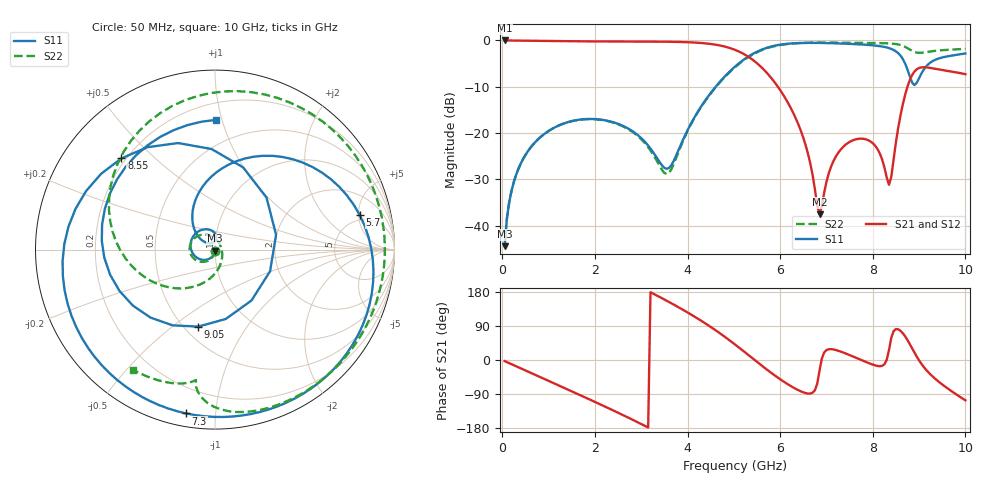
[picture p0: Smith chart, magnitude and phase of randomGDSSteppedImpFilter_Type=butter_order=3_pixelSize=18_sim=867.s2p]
! freq	dB(S11)	phase(S11)	dB(S12)	phase(S12)
!  dB(S21)	phase(S21)	dB(S22)	phase(S22)
!S-par simulation data
#  GHz  S  DB  R 50
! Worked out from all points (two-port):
!   200 points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, 50 MHz to 10 GHz, reference 50 ohm
!   highest |S21| = -0.01 dB at 50 MHz (marker M1); lowest = -37.5 dB at 6.85 GHz (marker M2)
!   |S21| within 3 dB of the highest: start of sweep to 5.228 GHz
!   lowest |S11| = -44.4 dB at 50 MHz (marker M3), VSWR 1.01, Z = 50 - j0.602 ohm
!   |S11| at or under -10 dB: start of sweep to 4.608 GHz
!   |S22| runs from -44.4 to -0.5 dB; largest |S21 - S12| = 0
!   S11 on the Smith chart (normalised r, x): 50 MHz: 1.00, -0.01; 5.7 GHz: 4.17, +5.15; 7.3 GHz: 0.06, -0.84; 8.55 GHz: 0.18, +0.40; 9.05 GHz: 0.59, -0.62; 10 GHz: 0.32, +0.96
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0.05  -44.41 -90.3  -0.01 -2.8  -0.01 -2.8  -44.41 -89.7
0.2  -32.43 -101.8  -0.02 -11.1  -0.02 -11.1  -32.42 -99.4
0.5  -24.73 -120.9  -0.05 -27.6  -0.05 -27.6  -24.71 -115.0
1.75  -17.02 161.8  -0.20 -96.6  -0.20 -96.6  -17.04 -176.9
2.7  -18.92 104.2  -0.24 -150.9  -0.24 -150.9  -19.05 132.5
3.4  -26.30 90.2  -0.27 166.1  -0.27 166.1  -27.14 60.9
3.6  -27.53 118.9  -0.29 153.1  -0.29 153.1  -28.57 0.8
4.35  -13.42 126.3  -0.60 99.3  -0.60 99.3  -13.52 -113.1
5.05  -5.44 71.8  -2.13 38.6  -2.13 38.6  -5.57 -179.5
5.7  -1.63 13.5  -6.86 -24.1  -6.86 -24.1  -1.73 112.0
6.15  -0.73 -23.3  -13.13 -62.8  -13.13 -62.8  -0.78 67.7
6.7  -0.53 -61.9  -29.02 -86.4  -29.02 -86.4  -0.49 22.1
6.85  -0.54 -71.5  -37.52 -28.5  -37.52 -28.5  -0.48 11.3
7.3  -0.66 -100.0  -23.65 22.5  -23.65 22.5  -0.49 -18.0
7.95  -1.01 -146.3  -21.80 -9.9  -21.80 -9.9  -0.55 -53.8
8.35  -1.65 171.2  -31.16 26.0  -31.16 26.0  -0.65 -74.2
8.55  -2.76 135.7  -18.82 81.0  -18.82 81.0  -0.87 -85.0
8.7  -5.02 92.0  -11.69 62.3  -11.69 62.3  -1.39 -93.1
8.85  -9.11 13.8  -7.47 30.8  -7.47 30.8  -2.26 -97.9
9.05  -7.15 -102.2  -5.82 -10.0  -5.82 -10.0  -2.66 -98.6
9.45  -3.82 167.4  -6.30 -59.8  -6.30 -59.8  -2.15 -107.8
10  -2.82 89.4  -7.29 -106.3  -7.29 -106.3  -1.81 -124.4
